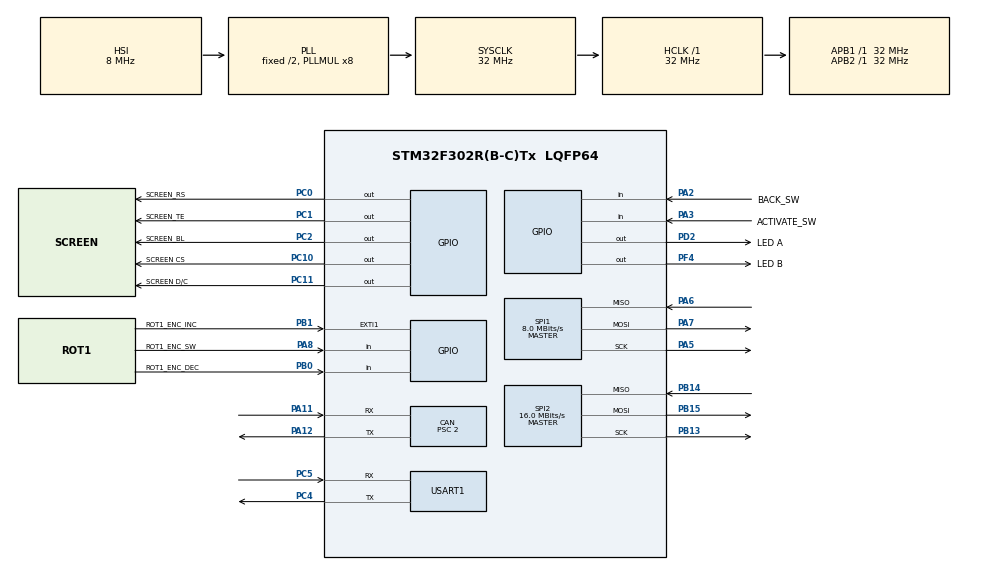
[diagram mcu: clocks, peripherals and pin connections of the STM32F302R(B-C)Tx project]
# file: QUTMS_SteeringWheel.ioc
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CAN.BS1=CAN_BS1_13TQ
CAN.BS2=CAN_BS2_2TQ
CAN.CalculateBaudRate=1000000
CAN.CalculateTimeBit=1000.00
CAN.CalculateTimeQuantum=62.5
CAN.Prescaler=2
Dma.Request0=SPI1_TX
Dma.SPI1_TX.0.Direction=DMA_MEMORY_TO_PERIPH
Dma.SPI1_TX.0.Instance=DMA1_Channel3
Dma.SPI1_TX.0.MemDataAlignment=DMA_MDATAALIGN_BYTE
Dma.SPI1_TX.0.MemInc=DMA_MINC_ENABLE
Dma.SPI1_TX.0.Mode=DMA_NORMAL
Dma.SPI1_TX.0.PeriphDataAlignment=DMA_PDATAALIGN_BYTE
Dma.SPI1_TX.0.PeriphInc=DMA_PINC_DISABLE
Dma.SPI1_TX.0.Priority=DMA_PRIORITY_LOW
Mcu.Family=STM32F3
Mcu.Name=STM32F302R(B-C)Tx
Mcu.Package=LQFP64
NVIC.CAN_RX1_IRQn=true\:5\:0\:true\:false\:true\:true\:true
NVIC.DMA1_Channel3_IRQn=true\:0\:0\:false\:false\:true\:false\:true
NVIC.EXTI1_IRQn=true\:0\:0\:false\:true\:true\:1\:true\:true
NVIC.PriorityGroup=NVIC_PRIORITYGROUP_4
NVIC.USB_LP_CAN_RX0_IRQn=true\:5\:0\:true\:false\:true\:true\:true
PA11.GPIO_PuPd=GPIO_PULLUP
PA11.Mode=CAN_Activate
PA11.Signal=CAN_RX
PA12.Mode=CAN_Activate
PA12.Signal=CAN_TX
PA13.Mode=JTAG_4_pins
PA13.Signal=SYS_JTMS-SWDIO
PA14.Mode=JTAG_4_pins
PA14.Signal=SYS_JTCK-SWCLK
PA15.Mode=JTAG_4_pins
PA15.Signal=SYS_JTDI
PA2.GPIO_Label=BACK_SW
PA2.Signal=GPIO_Input
PA3.GPIO_Label=ACTIVATE_SW
PA3.Signal=GPIO_Input
PA5.Mode=Full_Duplex_Master
PA5.Signal=SPI1_SCK
PA6.Mode=Full_Duplex_Master
PA6.Signal=SPI1_MISO
PA7.Mode=Full_Duplex_Master
PA7.Signal=SPI1_MOSI
PA8.GPIO_Label=ROT1_ENC_SW
PA8.Signal=GPIO_Input
PB0.GPIO_Label=ROT1_ENC_DEC
PB0.Signal=GPIO_Input
PB1.GPIO_Label=ROT1_ENC_INC
PB1.GPIO_ModeDefaultEXTI=GPIO_MODE_IT_FALLING
PB1.GPIO_PuPd=GPIO_NOPULL
PB1.Signal=GPXTI1
PB13.Mode=Full_Duplex_Master
PB13.Signal=SPI2_SCK
PB14.Mode=Full_Duplex_Master
PB14.Signal=SPI2_MISO
PB15.Mode=Full_Duplex_Master
PB15.Signal=SPI2_MOSI
PB3.Mode=JTAG_4_pins
PB3.Signal=SYS_JTDO-TRACESWO
PC0.GPIO_Label=SCREEN_RS
PC0.Signal=GPIO_Output
PC1.GPIO_Label=SCREEN_TE
PC1.Signal=GPIO_Output
PC10.GPIO_Label=SCREEN CS
PC10.Signal=GPIO_Output
PC11.GPIO_Label=SCREEN D/C
PC11.Signal=GPIO_Output
PC2.GPIO_Label=SCREEN_BL
PC2.Signal=GPIO_Output
PC4.Mode=Asynchronous
PC4.Signal=USART1_TX
PC5.Mode=Asynchronous
PC5.Signal=USART1_RX
PD2.GPIO_Label=LED A
PD2.Signal=GPIO_Output
PF0-OSC_IN.Mode=HSE-External-Oscillator
PF0-OSC_IN.Signal=RCC_OSC_IN
PF1-OSC_OUT.Mode=HSE-External-Oscillator
PF1-OSC_OUT.Signal=RCC_OSC_OUT
PF4.GPIO_Label=LED B
PF4.Signal=GPIO_Output
ProjectManager.HeapSize=0x200
ProjectManager.StackSize=0x400
ProjectManager.TargetToolchain=STM32CubeIDE
RCC.AHBFreq_Value=32000000
RCC.APB1Freq_Value=32000000
RCC.APB1TimFreq_Value=32000000
RCC.APB2Freq_Value=32000000
RCC.APB2TimFreq_Value=32000000
RCC.CortexFreq_Value=32000000
RCC.HCLKFreq_Value=32000000
RCC.HSE_VALUE=8000000
RCC.HSI_VALUE=8000000
RCC.LSE_VALUE=32768
RCC.PLLMUL=RCC_PLL_MUL8
RCC.RCC_PLLsource_Clock_Source_FROM_HSE=RCC_HSE_PREDIV_DIV3
RCC.SYSCLKFreq_VALUE=32000000
RCC.SYSCLKSourceVirtual=RCC_SYSCLKSOURCE_PLLCLK
RCC.USBFreq_Value=32000000
SPI1.BaudRatePrescaler=SPI_BAUDRATEPRESCALER_4
SPI1.CalculateBaudRate=8.0 MBits/s
SPI1.DataSize=SPI_DATASIZE_16BIT
SPI1.Direction=SPI_DIRECTION_2LINES
SPI1.Mode=SPI_MODE_MASTER
SPI1.VirtualType=VM_MASTER
SPI2.CalculateBaudRate=16.0 MBits/s
SPI2.Direction=SPI_DIRECTION_2LINES
SPI2.Mode=SPI_MODE_MASTER
SPI2.VirtualType=VM_MASTER
USART1.VirtualMode-Asynchronous=VM_ASYNC
board=custom

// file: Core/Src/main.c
/* USER CODE BEGIN Header */
/**
 ******************************************************************************
 * @file           : main.c
 * @brief          : Main program body
 ******************************************************************************
 * @attention
 *
 * <h2><center>&copy; Copyright (c) 2020 STMicroelectronics.
 * All rights reserved.</center></h2>
 *
 * This software component is licensed by ST under BSD 3-Clause license,
 * the "License"; You may not use this file except in compliance with the
 * License. You may obtain a copy of the License at:
 *                        opensource.org/licenses/BSD-3-Clause
 *
 ******************************************************************************
 */
/* USER CODE END Header */
#include "main.h"
#include "can.h"
#include "dma.h"
#include "spi.h"
#include "usart.h"
#include "gpio.h"

/* USER CODE BEGIN Includes */
#include <stdio.h>
#include "QUTMS.h"
#include "stdbool.h"
#include <string.h>
#include "../lvgl/lvgl.h"
#include "ili9488.h"

/* USER CODE END Includes */

void SystemClock_Config(void);
static void MX_NVIC_Init(void);

/* USER CODE BEGIN 0 */
void lvgl_flush_cb(lv_disp_drv_t *disp_drv, const lv_area_t *area, lv_color_t *color_p);
/* USER CODE END 0 */

int main(void) {

	/* MCU Configuration--------------------------------------------------------*/

	/* Reset of all peripherals, Initializes the Flash interface and the Systick. */
	HAL_Init();

	/* USER CODE BEGIN Init */

	/* Initialise graphics library----------------------------------------------*/

	/* USER CODE END Init */

	/* Configure the system clock */
	SystemClock_Config();

	/* Initialize all configured peripherals */
	MX_GPIO_Init();
	MX_DMA_Init();
	MX_CAN_Init();
	MX_SPI1_Init();
	MX_SPI2_Init();
	MX_USART1_UART_Init();

	/* Initialize interrupts */
	MX_NVIC_Init();
	/* USER CODE BEGIN 2 */

	ili9488_init();
	lv_init();

	/* USER CODE END 2 */

	/* Infinite loop */
	/* USER CODE BEGIN WHILE */

	// static variable for display buffers
	static lv_disp_buf_t disp_buf;

	// static buffer
	static lv_color_t buf_1[320 * 5];

	// initialize buffers
	lv_disp_buf_init(&disp_buf, buf_1, NULL, 320 * 5);

	// driver
	lv_disp_drv_t disp_drv;
	// basic init
	lv_disp_drv_init(&disp_drv);
	// set initialized buffer
	disp_drv.buffer = &disp_buf;
	disp_drv.flush_cb = lvgl_flush_cb;
	lv_disp_t *disp;
	disp = lv_disp_drv_register(&disp_drv);

	screen_create();

	while (1) {
		/* USER CODE END WHILE */

		/* USER CODE BEGIN 3 */
		lv_task_handler();
		HAL_Delay(5);
	}
	/* USER CODE END 3 */
}

void SystemClock_Config(void) {
	RCC_OscInitTypeDef RCC_OscInitStruct = { 0 };
	RCC_ClkInitTypeDef RCC_ClkInitStruct = { 0 };
	RCC_PeriphCLKInitTypeDef PeriphClkInit = { 0 };

	/** Initializes the RCC Oscillators according to the specified parameters
	 * in the RCC_OscInitTypeDef structure.
	 */
	RCC_OscInitStruct.OscillatorType = RCC_OSCILLATORTYPE_HSI;
	RCC_OscInitStruct.HSIState = RCC_HSI_ON;
	RCC_OscInitStruct.HSICalibrationValue = RCC_HSICALIBRATION_DEFAULT;
	RCC_OscInitStruct.PLL.PLLState = RCC_PLL_ON;
	RCC_OscInitStruct.PLL.PLLSource = RCC_PLLSOURCE_HSI;
	RCC_OscInitStruct.PLL.PLLMUL = RCC_PLL_MUL8;
	if (HAL_RCC_OscConfig(&RCC_OscInitStruct) != HAL_OK) {
		Error_Handler();
	}
	/** Initializes the CPU, AHB and APB buses clocks
	 */
	RCC_ClkInitStruct.ClockType = RCC_CLOCKTYPE_HCLK | RCC_CLOCKTYPE_SYSCLK | RCC_CLOCKTYPE_PCLK1 | RCC_CLOCKTYPE_PCLK2;
	RCC_ClkInitStruct.SYSCLKSource = RCC_SYSCLKSOURCE_PLLCLK;
	RCC_ClkInitStruct.AHBCLKDivider = RCC_SYSCLK_DIV1;
	RCC_ClkInitStruct.APB1CLKDivider = RCC_HCLK_DIV1;
	RCC_ClkInitStruct.APB2CLKDivider = RCC_HCLK_DIV1;

	if (HAL_RCC_ClockConfig(&RCC_ClkInitStruct, FLASH_LATENCY_1) != HAL_OK) {
		Error_Handler();
	}
	PeriphClkInit.PeriphClockSelection = RCC_PERIPHCLK_USART1;
	PeriphClkInit.Usart1ClockSelection = RCC_USART1CLKSOURCE_PCLK2;
	if (HAL_RCCEx_PeriphCLKConfig(&PeriphClkInit) != HAL_OK) {
		Error_Handler();
	}
}

/**
 * @brief NVIC Configuration.
 * @retval None
 */
static void MX_NVIC_Init(void) {
	/* EXTI1_IRQn interrupt configuration */
	HAL_NVIC_SetPriority(EXTI1_IRQn, 0, 0);
	HAL_NVIC_EnableIRQ(EXTI1_IRQn);
}

/* USER CODE BEGIN 4 */
void lvgl_flush_cb(lv_disp_drv_t *disp_drv, const lv_area_t *area, lv_color_t *color_p) {
	int32_t x = area->x1;
	int32_t y = area->y1;

	int32_t width = area->x2 - area->x1 + 1;
	int32_t height = area->y2 - area->y1 + 1;

	ili9488_draw_data(x, y, width, height, (uint16_t*) color_p);

	lv_disp_flush_ready(disp_drv);
}
/* USER CODE END 4 */

void Error_Handler(void) {
	/* USER CODE BEGIN Error_Handler_Debug */
	/* User can add his own implementation to report the HAL error return state */
	HAL_Delay(100);
	/* USER CODE END Error_Handler_Debug */
}

/************************ (C) COPYRIGHT STMicroelectronics *****END OF FILE****/
